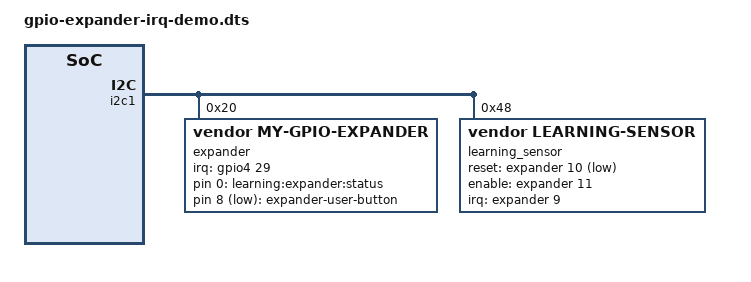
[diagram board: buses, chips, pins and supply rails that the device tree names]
/dts-v1/;
/plugin/;

/*
 * Learning-only overlay fragment.
 *
 * This shows the Device Tree shape for an I2C GPIO expander that is both:
 * - a GPIO provider for reset/enable/LED style signals;
 * - an interrupt provider for child devices connected to expander pins.
 *
 * Do not apply this overlay unchanged. Replace the target paths, GPIO
 * controller phandles, I2C address, compatible string, and IRQ flags with
 * values from your real board and real expander binding.
 */

/ {
	compatible = "acme,learning-board";

	/*
	 * Fragment 0: add an IRQ-capable GPIO expander on a real I2C bus.
	 *
	 * Replace &i2c1 with the I2C controller used on your board.
	 * Replace &gpio4 / line 29 with the SoC GPIO that receives the
	 * expander's physical INT output.
	 */
	fragment@0 {
		target = <&i2c1>;

		__overlay__ {
			#address-cells = <1>;
			#size-cells = <0>;

			status = "okay";

			expander: gpio@20 {
				/*
				 * Use your real chip binding here, for example:
				 * "microchip,mcp23017", "nxp,pca9555", ...
				 */
				compatible = "vendor,my-gpio-expander";
				reg = <0x20>;

				gpio-controller;
				#gpio-cells = <2>;

				interrupt-controller;
				#interrupt-cells = <2>;
				#address-cells = <0>;
				interrupt-parent = <&gpio4>;
				interrupts = <29 8>; /* IRQ_TYPE_LEVEL_LOW */

				gpio-line-names =
					"EXP_IO0", "EXP_IO1", "EXP_IO2", "EXP_IO3",
					"EXP_IO4", "EXP_IO5", "EXP_IO6", "EXP_IO7",
					"EXP_IRQ_BUTTON", "EXP_SENSOR_IRQ",
					"EXP_RESET", "EXP_ENABLE",
					"EXP_IO12", "EXP_IO13", "EXP_IO14", "EXP_IO15";
			};

			learning_sensor: sensor@48 {
				compatible = "vendor,learning-sensor";
				reg = <0x48>;

				reset-gpios = <&expander 10 1>; /* GPIO_ACTIVE_LOW */
				enable-gpios = <&expander 11 0>; /* GPIO_ACTIVE_HIGH */

				interrupt-parent = <&expander>;
				interrupts = <9 2>; /* IRQ_TYPE_EDGE_FALLING */
			};
		};
	};

	/*
	 * Fragment 1: examples of consumers using the expander.
	 *
	 * gpio-leds consumes the expander as a GPIO provider.
	 * gpio-keys consumes it as both GPIO provider and IRQ provider.
	 * The sensor node consumes expander GPIO 9 as its interrupt line.
	 */
	fragment@1 {
		target-path = "/";

		__overlay__ {
			expander_leds {
				compatible = "gpio-leds";

				status_led {
					label = "learning:expander:status";
					gpios = <&expander 0 0>; /* GPIO_ACTIVE_HIGH */
					default-state = "off";
				};
			};

			expander_keys {
				compatible = "gpio-keys";

				user_button {
					label = "expander-user-button";
					gpios = <&expander 8 1>; /* GPIO_ACTIVE_LOW */
					interrupt-parent = <&expander>;
					interrupts = <8 2>; /* IRQ_TYPE_EDGE_FALLING */
					linux,code = <28>; /* KEY_ENTER */
					debounce-interval = <20>;
				};
			};
		};
	};
};
